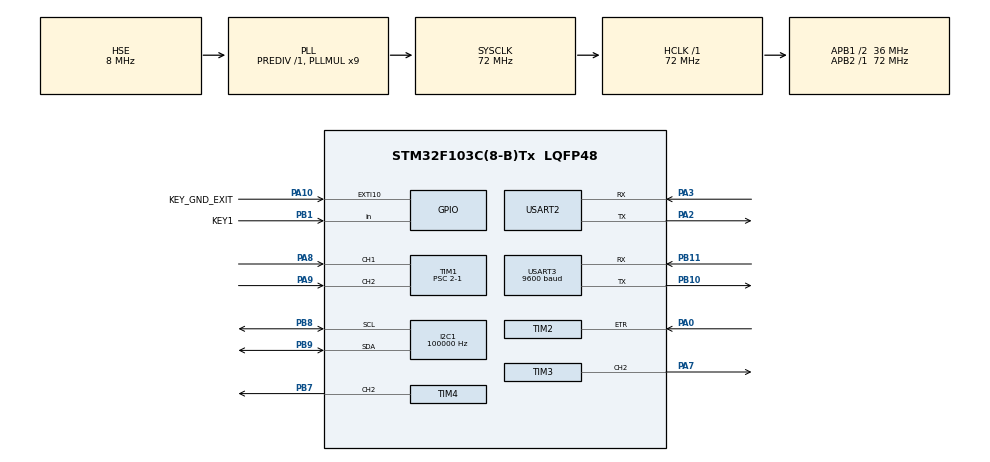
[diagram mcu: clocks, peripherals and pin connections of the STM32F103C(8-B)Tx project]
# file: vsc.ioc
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Dma.Request0=USART2_RX
Dma.Request1=USART2_TX
Dma.Request2=USART3_RX
Dma.Request3=USART3_TX
Dma.USART2_RX.0.Direction=DMA_PERIPH_TO_MEMORY
Dma.USART2_RX.0.Instance=DMA1_Channel6
Dma.USART2_RX.0.MemDataAlignment=DMA_MDATAALIGN_BYTE
Dma.USART2_RX.0.MemInc=DMA_MINC_ENABLE
Dma.USART2_RX.0.Mode=DMA_NORMAL
Dma.USART2_RX.0.PeriphDataAlignment=DMA_PDATAALIGN_BYTE
Dma.USART2_RX.0.PeriphInc=DMA_PINC_DISABLE
Dma.USART2_RX.0.Priority=DMA_PRIORITY_LOW
Dma.USART2_TX.1.Direction=DMA_MEMORY_TO_PERIPH
Dma.USART2_TX.1.Instance=DMA1_Channel7
Dma.USART2_TX.1.MemDataAlignment=DMA_MDATAALIGN_BYTE
Dma.USART2_TX.1.MemInc=DMA_MINC_ENABLE
Dma.USART2_TX.1.Mode=DMA_NORMAL
Dma.USART2_TX.1.PeriphDataAlignment=DMA_PDATAALIGN_BYTE
Dma.USART2_TX.1.PeriphInc=DMA_PINC_DISABLE
Dma.USART2_TX.1.Priority=DMA_PRIORITY_LOW
Dma.USART3_RX.2.Direction=DMA_PERIPH_TO_MEMORY
Dma.USART3_RX.2.Instance=DMA1_Channel3
Dma.USART3_RX.2.MemDataAlignment=DMA_MDATAALIGN_BYTE
Dma.USART3_RX.2.MemInc=DMA_MINC_ENABLE
Dma.USART3_RX.2.Mode=DMA_NORMAL
Dma.USART3_RX.2.PeriphDataAlignment=DMA_PDATAALIGN_BYTE
Dma.USART3_RX.2.PeriphInc=DMA_PINC_DISABLE
Dma.USART3_RX.2.Priority=DMA_PRIORITY_LOW
Dma.USART3_TX.3.Direction=DMA_MEMORY_TO_PERIPH
Dma.USART3_TX.3.Instance=DMA1_Channel2
Dma.USART3_TX.3.MemDataAlignment=DMA_MDATAALIGN_BYTE
Dma.USART3_TX.3.MemInc=DMA_MINC_ENABLE
Dma.USART3_TX.3.Mode=DMA_NORMAL
Dma.USART3_TX.3.PeriphDataAlignment=DMA_PDATAALIGN_BYTE
Dma.USART3_TX.3.PeriphInc=DMA_PINC_DISABLE
Dma.USART3_TX.3.Priority=DMA_PRIORITY_LOW
I2C1.ClockSpeed=100000
I2C1.I2C_Mode=I2C_Fast
Mcu.Family=STM32F1
Mcu.Name=STM32F103C(8-B)Tx
Mcu.Package=LQFP48
NVIC.DMA1_Channel2_IRQn=true\:0\:0\:false\:false\:true\:false\:true\:true
NVIC.DMA1_Channel3_IRQn=true\:0\:0\:false\:false\:true\:false\:true\:true
NVIC.DMA1_Channel6_IRQn=true\:0\:0\:false\:false\:true\:false\:true\:true
NVIC.DMA1_Channel7_IRQn=true\:0\:0\:false\:false\:true\:false\:true\:true
NVIC.EXTI15_10_IRQn=true\:15\:0\:true\:false\:true\:true\:true\:true
NVIC.PriorityGroup=NVIC_PRIORITYGROUP_4
NVIC.USART2_IRQn=true\:0\:0\:false\:false\:true\:true\:true\:true
NVIC.USART3_IRQn=true\:0\:0\:false\:false\:true\:true\:true\:true
PA0-WKUP.Signal=S_TIM2_CH1_ETR
PA10.GPIO_Label=KEY_GND_EXIT
PA10.GPIO_ModeDefaultEXTI=GPIO_MODE_IT_FALLING
PA10.GPIO_PuPd=GPIO_PULLUP
PA10.Signal=GPXTI10
PA13.Mode=Serial_Wire
PA13.Signal=SYS_JTMS-SWDIO
PA14.Mode=Serial_Wire
PA14.Signal=SYS_JTCK-SWCLK
PA2.Mode=Asynchronous
PA2.Signal=USART2_TX
PA3.Mode=Asynchronous
PA3.Signal=USART2_RX
PA6.Signal=S_TIM3_CH1
PA7.Signal=S_TIM3_CH2
PA8.Signal=S_TIM1_CH1
PA9.Signal=S_TIM1_CH2
PB1.GPIO_Label=KEY1
PB1.GPIO_PuPd=GPIO_PULLDOWN
PB1.Signal=GPIO_Input
PB10.Mode=Asynchronous
PB10.Signal=USART3_TX
PB11.Mode=Asynchronous
PB11.Signal=USART3_RX
PB7.Signal=S_TIM4_CH2
PB8.Mode=I2C
PB8.Signal=I2C1_SCL
PB9.Mode=I2C
PB9.Signal=I2C1_SDA
PD0-OSC_IN.Mode=HSE-External-Oscillator
PD0-OSC_IN.Signal=RCC_OSC_IN
PD1-OSC_OUT.Mode=HSE-External-Oscillator
PD1-OSC_OUT.Signal=RCC_OSC_OUT
ProjectManager.HeapSize=0x200
ProjectManager.StackSize=0x400
ProjectManager.TargetToolchain=CMake
RCC.AHBFreq_Value=72000000
RCC.APB1CLKDivider=RCC_HCLK_DIV2
RCC.APB1Freq_Value=36000000
RCC.APB1TimFreq_Value=72000000
RCC.APB2Freq_Value=72000000
RCC.APB2TimFreq_Value=72000000
RCC.HCLKFreq_Value=72000000
RCC.PLLMUL=RCC_PLL_MUL9
RCC.PLLSourceVirtual=RCC_PLLSOURCE_HSE
RCC.SYSCLKFreq_VALUE=72000000
RCC.SYSCLKSource=RCC_SYSCLKSOURCE_PLLCLK
RCC.USBFreq_Value=72000000
SH.S_TIM1_CH1.0=TIM1_CH1,Encoder_Interface
SH.S_TIM1_CH2.0=TIM1_CH2,Encoder_Interface
SH.S_TIM2_CH1_ETR.0=TIM2_ETR,TriggerSource_ETR
SH.S_TIM3_CH1.0=TIM3_CH1
SH.S_TIM3_CH2.0=TIM3_CH2,PWM Generation2 CH2
SH.S_TIM4_CH2.0=TIM4_CH2,PWM Generation2 CH2
TIM1.IC1Polarity=TIM_ICPOLARITY_FALLING
TIM1.Prescaler=2-1
TIM2.Prescaler=1
TIM2.Slave_TriggerFilter=15
TIM2.Slave_TriggerPrescaler=TIM_TRIGGERPRESCALER_DIV4
TIM3.AutoReloadPreload=TIM_AUTORELOAD_PRELOAD_ENABLE
TIM3.Channel-PWM\ Generation2\ CH2=TIM_CHANNEL_2
TIM3.Period=100-1
TIM3.Prescaler=72-1
TIM4.Channel-PWM\ Generation2\ CH2=TIM_CHANNEL_2
TIM4.Period=2000-1
TIM4.Prescaler=720-1
USART2.VirtualMode=VM_ASYNC
USART3.BaudRate=9600
USART3.VirtualMode=VM_ASYNC
VP_TIM2_VS_ControllerModeClock.Mode=Clock Mode
VP_TIM3_VS_ClockSourceINT.Mode=Internal
VP_TIM4_VS_ClockSourceINT.Mode=Internal
board=custom

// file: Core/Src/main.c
/* USER CODE BEGIN Header */
/**
  ******************************************************************************
  * @file           : main.c
  * @brief          : Main program body
  ******************************************************************************
  * @attention
  *
  * Copyright (c) 2026 STMicroelectronics.
  * All rights reserved.
  *
  * This software is licensed under terms that can be found in the LICENSE file
  * in the root directory of this software component.
  * If no LICENSE file comes with this software, it is provided AS-IS.
  *
  ******************************************************************************
  */
/* USER CODE END Header */
#include "main.h"
#include "dma.h"
#include "i2c.h"
#include "tim.h"
#include "usart.h"
#include "gpio.h"

/* USER CODE BEGIN Includes */
#include "key.h"
#include "stm32f1xx_hal_gpio.h"
#include "oled.h"
#include <sys/_intsup.h>
#include <stdio.h>
/* USER CODE END Includes */

/* USER CODE BEGIN PD */
#define MAX_ROTATER 20
/* USER CODE END PD */

/* USER CODE BEGIN PV */
char Message[] = "Hello, World!";
char Received[64];
char BlueToothBuffer[200];
int light_receiver_count = 0;
int offset_counter = 0;
int rotater_count = 0;
float duty_cycle = 0.0f;
/* USER CODE END PV */

void SystemClock_Config(void);
/* USER CODE BEGIN PFP */
void Toggle_Light(void);
/* USER CODE END PFP */

/* USER CODE BEGIN 0 */
void HAL_UARTEx_RxEventCallback(UART_HandleTypeDef *huart, uint16_t Size){
  if(huart->Instance == USART2){
    // 把这次实际收到的 Size 个字节原样回显
    HAL_UART_Transmit(&huart2, (uint8_t*)Received, Size, 100);
    // 重新启动空闲中断接收，等待下一条消息
    HAL_UARTEx_ReceiveToIdle_IT(&huart2, (uint8_t*)Received, sizeof(Received));
    __HAL_DMA_DISABLE_IT(&hdma_usart2_rx, DMA_IT_HT );
  }
  if(huart->Instance == USART3){
    HAL_UART_Transmit(&huart3, (uint8_t *)BlueToothBuffer, Size, 100);
    HAL_UARTEx_ReceiveToIdle_IT(&huart3, (uint8_t *)BlueToothBuffer, sizeof(BlueToothBuffer));
    __HAL_DMA_DISABLE_IT(&hdma_usart3_rx, DMA_IT_HT );
  }
}
void HAL_TIM_PeriodElapsedCallback(TIM_HandleTypeDef *htim){
  if(htim->Instance == TIM2){
    offset_counter++;
  }
}

/* USER CODE END 0 */

int main(void)
{

  /* MCU Configuration--------------------------------------------------------*/

  /* Reset of all peripherals, Initializes the Flash interface and the Systick. */
  HAL_Init();

  /* Configure the system clock */
  SystemClock_Config();

  /* Initialize all configured peripherals */
  MX_GPIO_Init();
  MX_DMA_Init();
  MX_USART2_UART_Init();
  MX_I2C1_Init();
  MX_USART3_UART_Init();
  MX_TIM2_Init();
  MX_TIM3_Init();
  MX_TIM1_Init();
  MX_TIM4_Init();
  /* USER CODE BEGIN 2 */

  HAL_Delay(20);        // 等 OLED 上电稳定，STM32 启动比 OLED 快
  OLED_Init();
  OLED_NewFrame();      // 清空显存，开始新一帧
  HAL_TIM_PWM_Start(&htim3, TIM_CHANNEL_ALL);
  HAL_TIM_PWM_Start(&htim4, TIM_CHANNEL_2);
  HAL_TIM_Encoder_Start(&htim1, TIM_CHANNEL_1);
  HAL_TIM_Encoder_Start(&htim1, TIM_CHANNEL_2);

  //OLED_PrintASCIIString(0, 0, "Buzzer Count:", &afont12x6, OLED_COLOR_NORMAL);

  /* USER CODE END 2 */

  /* Infinite loop */
  /* USER CODE BEGIN WHILE */
  HAL_UARTEx_ReceiveToIdle_DMA(&huart2, (uint8_t*)Received, sizeof(Received));
  __HAL_DMA_DISABLE_IT(&hdma_usart2_rx, DMA_IT_HT );
  HAL_UARTEx_ReceiveToIdle_DMA(&huart3, (uint8_t *)BlueToothBuffer, sizeof(BlueToothBuffer));
  __HAL_DMA_DISABLE_IT(&hdma_usart3_rx, DMA_IT_HT );
  HAL_TIM_Base_Start_IT(&htim2);

  int count_offset = 65536; // 计数器溢出时的偏移量
  light_receiver_count = __HAL_TIM_GET_COUNTER(&htim2) + count_offset * offset_counter;

  char rode[10] = {0};

  while (1){
    rotater_count = __HAL_TIM_GET_COUNTER(&htim1);

    if(rotater_count > 60000){
      rotater_count = 0;
      __HAL_TIM_SET_COUNTER(&htim1, 0);
    }else if ( rotater_count > MAX_ROTATER ) {
      rotater_count = MAX_ROTATER;
      __HAL_TIM_SET_COUNTER(&htim1, MAX_ROTATER);
    }

    //2.5%~12.5%
    //50hz 20ms 0~180度 检测到0.5ms高电平输出为0的模拟信号 2.5为180度的模拟信号
    duty_cycle = ((float)rotater_count * 10.0f / (float)MAX_ROTATER + 2.5f) / 100.0f * 2000.0f;
    __HAL_TIM_SET_COMPARE(&htim4, TIM_CHANNEL_2, (uint32_t)duty_cycle );

    OLED_NewFrame();
    OLED_PrintASCIIString(0, 0, "Count: ", &afont12x6, OLED_COLOR_NORMAL);

    light_receiver_count = __HAL_TIM_GET_COUNTER(&htim2);// + count_offset * offset_counter;
    sprintf(rode, "%d", rotater_count);

    OLED_PrintASCIIString(48, 0, rode, &afont12x6, OLED_COLOR_NORMAL);
    OLED_ShowFrame();
    /**
    for(int i = 0;i < 100; i++){
      __HAL_TIM_SET_COMPARE(&htim3, TIM_CHANNEL_1, i);
      HAL_Delay(10);
    }
    for(int i = 100;i > 0; i--){
      __HAL_TIM_SET_COMPARE(&htim3, TIM_CHANNEL_1, i);
      HAL_Delay(10);
      }

    **/
  }
    /* USER CODE END WHILE */

}

void SystemClock_Config(void)
{
  RCC_OscInitTypeDef RCC_OscInitStruct = {0};
  RCC_ClkInitTypeDef RCC_ClkInitStruct = {0};

  /** Initializes the RCC Oscillators according to the specified parameters
  * in the RCC_OscInitTypeDef structure.
  */
  RCC_OscInitStruct.OscillatorType = RCC_OSCILLATORTYPE_HSE;
  RCC_OscInitStruct.HSEState = RCC_HSE_ON;
  RCC_OscInitStruct.HSEPredivValue = RCC_HSE_PREDIV_DIV1;
  RCC_OscInitStruct.HSIState = RCC_HSI_ON;
  RCC_OscInitStruct.PLL.PLLState = RCC_PLL_ON;
  RCC_OscInitStruct.PLL.PLLSource = RCC_PLLSOURCE_HSE;
  RCC_OscInitStruct.PLL.PLLMUL = RCC_PLL_MUL9;
  if (HAL_RCC_OscConfig(&RCC_OscInitStruct) != HAL_OK)
  {
    Error_Handler();
  }

  /** Initializes the CPU, AHB and APB buses clocks
  */
  RCC_ClkInitStruct.ClockType = RCC_CLOCKTYPE_HCLK|RCC_CLOCKTYPE_SYSCLK
                              |RCC_CLOCKTYPE_PCLK1|RCC_CLOCKTYPE_PCLK2;
  RCC_ClkInitStruct.SYSCLKSource = RCC_SYSCLKSOURCE_PLLCLK;
  RCC_ClkInitStruct.AHBCLKDivider = RCC_SYSCLK_DIV1;
  RCC_ClkInitStruct.APB1CLKDivider = RCC_HCLK_DIV2;
  RCC_ClkInitStruct.APB2CLKDivider = RCC_HCLK_DIV1;

  if (HAL_RCC_ClockConfig(&RCC_ClkInitStruct, FLASH_LATENCY_2) != HAL_OK)
  {
    Error_Handler();
  }
}

void Error_Handler(void)
{
  __disable_irq();
  while (1)
  {
  }
}
